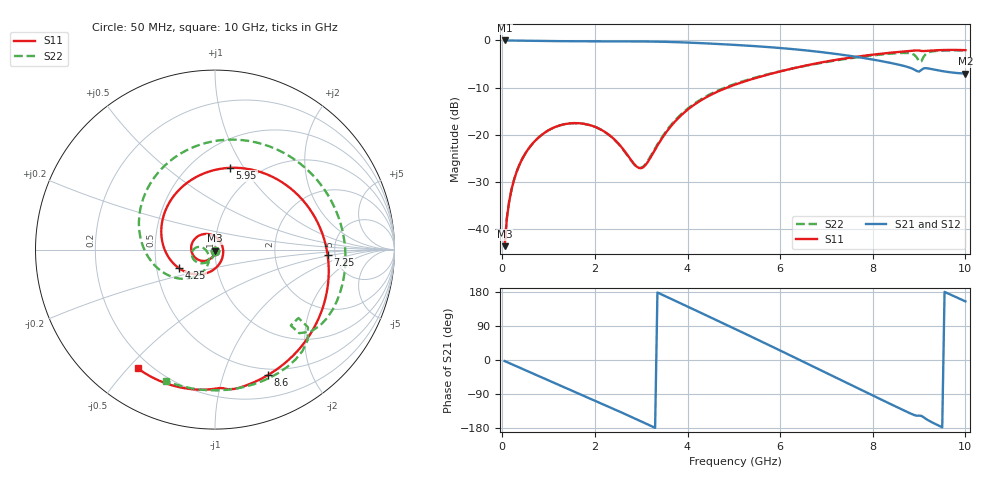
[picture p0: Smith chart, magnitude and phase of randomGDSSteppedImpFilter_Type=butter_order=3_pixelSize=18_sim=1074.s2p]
! freq	dB(S11)	phase(S11)	dB(S12)	phase(S12)
!  dB(S21)	phase(S21)	dB(S22)	phase(S22)
!S-par simulation data
#  GHz  S  DB  R 50
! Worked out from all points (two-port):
!   200 points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, 50 MHz to 10 GHz, reference 50 ohm
!   highest |S21| = 0.00 dB at 50 MHz (marker M1); lowest = -7.0 dB at 10 GHz (marker M2)
!   |S21| within 3 dB of the highest: start of sweep to 7.316 GHz
!   lowest |S11| = -43.6 dB at 50 MHz (marker M3), VSWR 1.01, Z = 50 - j0.663 ohm
!   |S11| at or under -10 dB: start of sweep to 4.851 GHz
!   |S22| runs from -43.5 to -2.1 dB; largest |S21 - S12| = 0
!   S11 on the Smith chart (normalised r, x): 50 MHz: 1.00, -0.01; 4.25 GHz: 0.65, -0.14; 5.95 GHz: 0.75, +0.87; 7.25 GHz: 4.33, -0.42; 8.6 GHz: 0.43, -1.42; 10 GHz: 0.15, -0.53
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0.05  -43.56 -92.2  -0.00 -2.8  -0.00 -2.8  -43.49 -91.8
0.1  -37.52 -95.5  -0.01 -5.5  -0.01 -5.5  -37.48 -94.5
0.2  -31.53 -101.9  -0.02 -10.9  -0.02 -10.9  -31.51 -99.4
0.5  -23.89 -120.4  -0.05 -27.0  -0.05 -27.0  -23.90 -113.7
1.15  -18.30 -160.5  -0.14 -61.8  -0.14 -61.8  -18.30 -144.5
1.75  -17.63 160.9  -0.18 -93.7  -0.18 -93.7  -17.63 -170.1
2.3  -19.95 119.6  -0.19 -123.4  -0.19 -123.4  -20.00 172.1
2.95  -27.00 20.7  -0.20 -159.3  -0.20 -159.3  -26.99 -158.7
3.4  -21.46 -74.0  -0.27 175.3  -0.27 175.3  -21.19 -116.2
4.25  -12.93 -152.6  -0.55 126.7  -0.55 126.7  -12.71 -135.3
5.05  -9.27 146.1  -0.96 80.6  -0.96 80.6  -9.11 -166.4
5.95  -6.69 79.6  -1.56 28.0  -1.56 28.0  -6.64 154.4
6.7  -5.02 29.4  -2.26 -16.4  -2.26 -16.4  -5.09 115.4
7.25  -4.04 -2.7  -2.92 -49.1  -2.92 -49.1  -4.17 81.9
7.8  -3.25 -30.9  -3.72 -81.8  -3.72 -81.8  -3.41 44.5
8.35  -2.63 -56.2  -4.69 -114.3  -4.69 -114.3  -2.83 4.3
8.6  -2.40 -67.0  -5.22 -128.9  -5.22 -128.9  -2.67 -14.9
8.9  -2.14 -79.9  -6.19 -145.5  -6.19 -145.5  -3.07 -40.6
9  -2.15 -84.8  -6.60 -146.9  -6.60 -146.9  -4.47 -45.0
9.15  -2.22 -89.8  -5.87 -155.5  -5.87 -155.5  -2.83 -44.4
9.45  -2.05 -101.4  -6.41 -174.6  -6.41 -174.6  -2.17 -70.2
10  -2.06 -123.1  -7.02 154.7  -7.02 154.7  -2.14 -110.4
